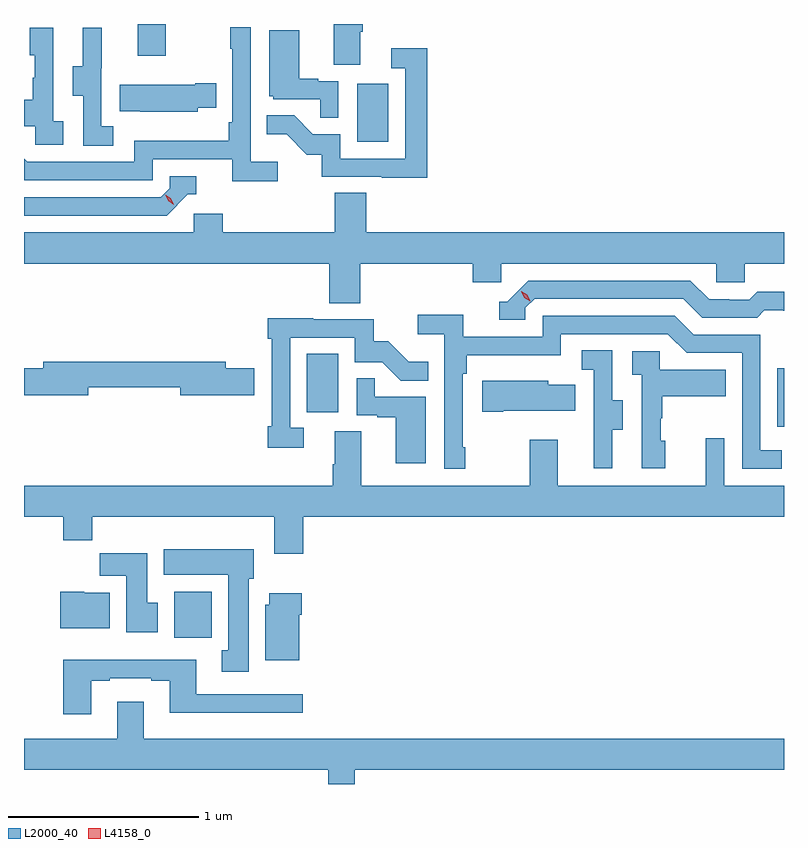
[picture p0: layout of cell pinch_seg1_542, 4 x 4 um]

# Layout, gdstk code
import gdstk
lib = gdstk.Library(unit=1e-6, precision=1e-09)
def R(c, l, rs):  # rectangles x0, y0, x1, y1
    for r in rs: c.add(gdstk.rectangle(r[:2], r[2:], *l))
def P(c, l, *ps):  # polygons
    for p in ps: c.add(gdstk.Polygon(p, *l))
L2000_40 = (2000, 40)
L4158_0 = (4158, 0)

pinch_seg1_542 = lib.new_cell('pinch_seg1_542')
R(pinch_seg1_542, L2000_40, [(1019.321,539.108,1019.518,539.35), (1022.496,540.216,1022.531,540.526), (1020.02,540.294,1020.184,540.601), (1020.284,541.716,1020.448,542.023), (1019.129,542.169,1019.277,542.337)])
P(pinch_seg1_542, L2000_40, [(1020.301,542.296),(1020.314,542.296),(1020.314,542.337),(1020.161,542.337),(1020.161,542.122),(1020.301,542.122)],
  [(1019.866,541.612),(1019.724,541.612),(1019.724,542.32),(1019.616,542.32),(1019.616,542.207),(1019.628,542.207),(1019.628,541.819),(1019.608,541.819),(1019.608,541.723),(1019.112,541.723),(1019.112,541.611),(1018.548,541.611),(1018.531,541.628),(1018.531,541.515),(1019.208,541.515),(1019.208,541.626),(1019.627,541.626),(1019.627,541.51),(1019.866,541.51)],
  [(1019.002,541.799),(1018.938,541.799),(1018.938,542.103),(1018.94,542.103),(1018.94,542.317),(1018.841,542.317),(1018.841,542.115),(1018.787,542.115),(1018.787,541.96),(1018.842,541.96),(1018.842,541.696),(1019.002,541.696)],
  [(1018.738,541.826),(1018.686,541.826),(1018.686,542.317),(1018.562,542.317),(1018.562,542.172),(1018.588,542.172),(1018.588,542.054),(1018.578,542.054),(1018.578,541.939),(1018.531,541.939),(1018.531,541.799),(1018.59,541.799),(1018.59,541.701),(1018.738,541.701)],
  [(1020.186,542.037),(1020.08,542.037),(1020.08,542.05),(1019.98,542.05),(1019.98,542.305),(1019.822,542.305),(1019.822,541.956),(1019.844,541.956),(1019.844,541.941),(1020.091,541.941),(1020.091,541.843),(1020.186,541.843)],
  [(1020.653,542.209),(1020.465,542.209),(1020.465,542.103),(1020.537,542.103),(1020.537,541.629),(1020.195,541.629),(1020.195,541.758),(1020.051,541.758),(1019.953,541.856),(1019.809,541.856),(1019.809,541.757),(1019.913,541.757),(1020.02,541.65),(1020.097,541.65),(1020.097,541.533),(1020.415,541.533),(1020.415,541.528),(1020.653,541.528)],
  [(1019.445,541.895),(1019.543,541.895),(1019.543,542.025),(1019.432,542.025),(1019.432,542.017),(1019.035,542.017),(1019.035,541.877),(1019.143,541.877),(1019.143,541.874),(1019.445,541.874)],
  [(1019.394,541.44),(1019.437,541.44),(1019.437,541.536),(1019.298,541.536),(1019.298,541.473),(1019.25,541.425),(1018.531,541.425),(1018.531,541.329),(1019.283,541.329)],
  [(1020.302,541.076),(1020.893,541.076),(1020.893,540.978),(1021.044,540.978),(1021.044,541.076),(1022.175,541.076),(1022.175,540.978),(1022.325,540.978),(1022.325,541.076),(1022.531,541.076),(1022.531,541.24),(1020.332,541.24),(1020.332,541.448),(1020.167,541.448),(1020.167,541.24),(1019.576,541.24),(1019.576,541.338),(1019.424,541.338),(1019.424,541.24),(1018.531,541.24),(1018.531,541.076),(1020.137,541.076),(1020.137,540.868),(1020.302,540.868)],
  [(1021.17,540.843),(1021.218,540.891),(1022.001,540.891),(1022.1,540.792),(1022.389,540.792),(1022.428,540.831),(1022.527,540.831),(1022.527,540.828),(1022.531,540.828),(1022.531,540.928),(1022.389,540.928),(1022.347,540.885),(1022.244,540.885),(1022.244,540.888),(1022.137,540.888),(1022.038,540.987),(1021.185,540.987),(1021.074,540.876),(1021.031,540.876),(1021.031,540.78),(1021.17,540.78)],
  [(1020.853,540.109),(1020.84,540.109),(1020.84,540.497),(1020.86,540.497),(1020.86,540.593),(1021.356,540.593),(1021.356,540.705),(1021.92,540.705),(1022.019,540.606),(1022.31,540.606),(1022.31,539.997),(1022.519,539.997),(1022.519,540.093),(1022.406,540.093),(1022.406,540.702),(1022.056,540.702),(1021.957,540.801),(1021.26,540.801),(1021.26,540.69),(1020.842,540.69),(1020.842,540.806),(1020.603,540.806),(1020.603,540.704),(1020.744,540.704),(1020.744,539.997),(1020.853,539.997)],
  [(1020.004,540.213),(1019.931,540.213),(1019.931,540.687),(1020.273,540.687),(1020.273,540.558),(1020.417,540.558),(1020.515,540.46),(1020.659,540.46),(1020.659,540.559),(1020.555,540.559),(1020.448,540.666),(1020.372,540.666),(1020.372,540.783),(1020.053,540.783),(1020.053,540.788),(1019.815,540.788),(1019.815,540.68),(1019.835,540.68),(1019.835,540.22),(1019.815,540.22),(1019.815,540.108),(1020.004,540.108)],
  [(1021.627,540.202),(1021.681,540.202),(1021.681,540.357),(1021.626,540.357),(1021.626,540.62),(1021.467,540.62),(1021.467,540.517),(1021.53,540.517),(1021.53,540.213),(1021.529,540.213),(1021.529,540),(1021.627,540)],
  [(1021.906,540.144),(1021.881,540.144),(1021.881,540.263),(1021.891,540.263),(1021.891,540.377),(1022.225,540.377),(1022.225,540.517),(1021.878,540.517),(1021.878,540.615),(1021.731,540.615),(1021.731,540.491),(1021.782,540.491),(1021.782,540),(1021.906,540)],
  [(1018.87,540.424),(1019.354,540.424),(1019.354,540.382),(1019.743,540.382),(1019.743,540.524),(1019.593,540.524),(1019.593,540.56),(1018.631,540.56),(1018.631,540.524),(1018.531,540.524),(1018.531,540.382),(1018.87,540.382)],
  [(1020.646,540.375),(1020.377,540.375),(1020.377,540.473),(1020.282,540.473),(1020.282,540.279),(1020.389,540.279),(1020.389,540.267),(1020.488,540.267),(1020.488,540.024),(1020.646,540.024)],
  [(1021.054,540.302),(1021.433,540.302),(1021.433,540.439),(1021.29,540.439),(1021.29,540.46),(1020.942,540.46),(1020.942,540.295),(1021.054,540.295)],
  [(1020.002,539.744),(1022.531,539.744),(1022.531,539.908),(1022.217,539.908),(1022.217,540.157),(1022.12,540.157),(1022.12,539.908),(1021.339,539.908),(1021.339,540.148),(1021.192,540.148),(1021.192,539.908),(1020.307,539.908),(1020.307,540.194),(1020.167,540.194),(1020.167,540.02),(1020.155,540.02),(1020.155,539.908),(1018.531,539.908),(1018.531,539.744),(1018.738,539.744),(1018.738,539.62),(1018.889,539.62),(1018.889,539.744),(1019.849,539.744),(1019.849,539.55),(1020.002,539.55)],
  [(1019.713,539.418),(1019.74,539.418),(1019.74,539.572),(1019.267,539.572),(1019.267,539.438),(1019.606,539.438),(1019.606,539.042),(1019.573,539.042),(1019.573,538.929),(1019.713,538.929)],
  [(1019.236,539.292),(1019.179,539.292),(1019.179,539.551),(1018.93,539.551),(1018.93,539.432),(1019.069,539.432),(1019.069,539.136),(1019.236,539.136)],
  [(1018.981,539.344),(1018.848,539.344),(1018.848,539.35),(1018.723,539.35),(1018.723,539.156),(1018.981,539.156)],
  [(1019.98,539.228),(1019.993,539.228),(1019.993,539.341),(1019.822,539.341),(1019.822,539.28),(1019.801,539.28),(1019.801,538.988),(1019.98,538.988)],
  [(1018.885,538.881),(1018.981,538.881),(1018.981,538.893),(1019.201,538.893),(1019.201,538.881),(1019.297,538.881),(1019.297,538.712),(1019.998,538.712),(1019.998,538.809),(1019.437,538.809),(1019.437,538.99),(1018.738,538.99),(1018.738,538.704),(1018.885,538.704)],
  [(1020.271,538.412),(1022.531,538.412),(1022.531,538.576),(1019.161,538.576),(1019.161,538.771),(1019.021,538.771),(1019.021,538.576),(1018.531,538.576),(1018.531,538.412),(1020.131,538.412),(1020.131,538.337),(1020.271,538.337)])
P(pinch_seg1_542, L4158_0, [(1019.32,541.386),(1019.289,541.406),(1019.274,541.438),(1019.274,541.439),(1019.274,541.439),(1019.304,541.419),(1019.32,541.386),(1019.32,541.386)],
  [(1021.195,540.878),(1021.164,540.897),(1021.148,540.93),(1021.148,540.93),(1021.148,540.93),(1021.179,540.911),(1021.195,540.878),(1021.195,540.878)])

lib.write_gds('pinch_seg1_542.gds')
